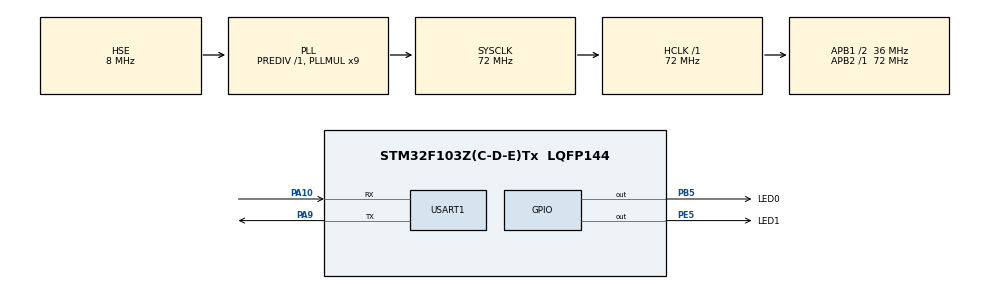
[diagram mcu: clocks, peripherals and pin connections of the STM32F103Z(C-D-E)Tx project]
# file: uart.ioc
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Mcu.Family=STM32F1
Mcu.Name=STM32F103Z(C-D-E)Tx
Mcu.Package=LQFP144
NVIC.PriorityGroup=NVIC_PRIORITYGROUP_4
NVIC.USART1_IRQn=true\:0\:0\:false\:false\:true\:true\:true\:true
OSC_IN.Mode=HSE-External-Oscillator
OSC_IN.Signal=RCC_OSC_IN
OSC_OUT.Mode=HSE-External-Oscillator
OSC_OUT.Signal=RCC_OSC_OUT
PA10.Mode=Asynchronous
PA10.Signal=USART1_RX
PA13.Mode=Serial_Wire
PA13.Signal=SYS_JTMS-SWDIO
PA14.Mode=Serial_Wire
PA14.Signal=SYS_JTCK-SWCLK
PA9.Mode=Asynchronous
PA9.Signal=USART1_TX
PB5.GPIO_Label=LED0
PB5.GPIO_PuPd=GPIO_PULLUP
PB5.GPIO_Speed=GPIO_SPEED_FREQ_HIGH
PB5.PinState=GPIO_PIN_SET
PB5.Signal=GPIO_Output
PE5.GPIO_Label=LED1
PE5.GPIO_PuPd=GPIO_PULLUP
PE5.GPIO_Speed=GPIO_SPEED_FREQ_HIGH
PE5.PinState=GPIO_PIN_SET
PE5.Signal=GPIO_Output
ProjectManager.HeapSize=0x200
ProjectManager.StackSize=0x400
ProjectManager.TargetToolchain=Makefile
RCC.AHBFreq_Value=72000000
RCC.APB1CLKDivider=RCC_HCLK_DIV2
RCC.APB1Freq_Value=36000000
RCC.APB1TimFreq_Value=72000000
RCC.APB2Freq_Value=72000000
RCC.APB2TimFreq_Value=72000000
RCC.HCLKFreq_Value=72000000
RCC.PLLMUL=RCC_PLL_MUL9
RCC.PLLSourceVirtual=RCC_PLLSOURCE_HSE
RCC.SYSCLKFreq_VALUE=72000000
RCC.SYSCLKSource=RCC_SYSCLKSOURCE_PLLCLK
RCC.USBFreq_Value=72000000
USART1.VirtualMode=VM_ASYNC
board=custom

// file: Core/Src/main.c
/* USER CODE BEGIN Header */
/**
  ******************************************************************************
  * @file           : main.c
  * @brief          : Main program body
  ******************************************************************************
  * @attention
  *
  * Copyright (c) 2025 STMicroelectronics.
  * All rights reserved.
  *
  * This software is licensed under terms that can be found in the LICENSE file
  * in the root directory of this software component.
  * If no LICENSE file comes with this software, it is provided AS-IS.
  *
  ******************************************************************************
  */
/* USER CODE END Header */
#include "main.h"
#include "usart.h"
#include "gpio.h"

/* USER CODE BEGIN Includes */
#define RXBUFFER_SIZE 256
char RxBuffer[RXBUFFER_SIZE];
uint8_t aRxBuffer;

uint8_t msg_blink_on[]  = "Blink Mode ON\r\n";
uint8_t msg_led_on[]    = "LED ON\r\n";
uint8_t msg_led_off[]   = "LED OFF\r\n";

uint8_t Uart1_Rx_Cnt = 0;
uint8_t blink_mode = 0;

volatile uint8_t led1_on_flag = 0; // LED1开关标志
/* USER CODE END Includes */

void SystemClock_Config(void);

int main(void)
{
  /* USER CODE BEGIN 1 */
  uint8_t led1_on_time = 0;
  /* USER CODE END 1 */

  /* MCU Configuration--------------------------------------------------------*/

  /* Reset of all peripherals, Initializes the Flash interface and the Systick. */
  HAL_Init();

  /* Configure the system clock */
  SystemClock_Config();

  /* Initialize all configured peripherals */
  MX_GPIO_Init();
  MX_USART1_UART_Init();
  /* USER CODE BEGIN 2 */
  HAL_UART_Receive_IT(&huart1, (uint8_t *)&aRxBuffer, 1);
  /* USER CODE END 2 */

  /* Infinite loop */
  /* USER CODE BEGIN WHILE */
  while (1)
  {
    if (blink_mode)
    {
      HAL_GPIO_TogglePin(LED0_GPIO_Port, LED0_Pin);
      HAL_Delay(500);
    }
    else
    {
      HAL_Delay(100); // 避免CPU空转
    }
    if(led1_on_flag)
    {
      led1_on_time = HAL_GetTick();
      led1_on_flag = 0;
    }
    if(HAL_GetTick() - led1_on_time >= 50)
    {
      HAL_GPIO_WritePin(LED1_GPIO_Port, LED1_Pin, GPIO_PIN_SET); // 熄灭LED1
    }
    /* USER CODE END WHILE */

  }
}

void SystemClock_Config(void)
{
  RCC_OscInitTypeDef RCC_OscInitStruct = {0};
  RCC_ClkInitTypeDef RCC_ClkInitStruct = {0};

  /** Initializes the RCC Oscillators according to the specified parameters
  * in the RCC_OscInitTypeDef structure.
  */
  RCC_OscInitStruct.OscillatorType = RCC_OSCILLATORTYPE_HSE;
  RCC_OscInitStruct.HSEState = RCC_HSE_ON;
  RCC_OscInitStruct.HSEPredivValue = RCC_HSE_PREDIV_DIV1;
  RCC_OscInitStruct.HSIState = RCC_HSI_ON;
  RCC_OscInitStruct.PLL.PLLState = RCC_PLL_ON;
  RCC_OscInitStruct.PLL.PLLSource = RCC_PLLSOURCE_HSE;
  RCC_OscInitStruct.PLL.PLLMUL = RCC_PLL_MUL9;
  if (HAL_RCC_OscConfig(&RCC_OscInitStruct) != HAL_OK)
  {
    Error_Handler();
  }

  /** Initializes the CPU, AHB and APB buses clocks
  */
  RCC_ClkInitStruct.ClockType = RCC_CLOCKTYPE_HCLK|RCC_CLOCKTYPE_SYSCLK
                              |RCC_CLOCKTYPE_PCLK1|RCC_CLOCKTYPE_PCLK2;
  RCC_ClkInitStruct.SYSCLKSource = RCC_SYSCLKSOURCE_PLLCLK;
  RCC_ClkInitStruct.AHBCLKDivider = RCC_SYSCLK_DIV1;
  RCC_ClkInitStruct.APB1CLKDivider = RCC_HCLK_DIV2;
  RCC_ClkInitStruct.APB2CLKDivider = RCC_HCLK_DIV1;

  if (HAL_RCC_ClockConfig(&RCC_ClkInitStruct, FLASH_LATENCY_2) != HAL_OK)
  {
    Error_Handler();
  }
}

/* USER CODE BEGIN 4 */
void HAL_UART_RxCpltCallback(UART_HandleTypeDef *huart)
{
  if(huart->Instance == USART1)
  {
    switch(aRxBuffer)
    {
      case '2':
        blink_mode = 1;
        HAL_UART_Transmit_IT(&huart1, msg_blink_on, sizeof(msg_blink_on) - 1);
        break;

      case '1':
        blink_mode = 0;
        HAL_GPIO_WritePin(LED0_GPIO_Port, LED0_Pin, GPIO_PIN_RESET); // 点亮LED0
        HAL_UART_Transmit_IT(&huart1, msg_led_on, sizeof(msg_led_on) - 1);
        break;

      case '0':
        blink_mode = 0;
        HAL_GPIO_WritePin(LED0_GPIO_Port, LED0_Pin, GPIO_PIN_SET); // 熄灭LED0
        HAL_UART_Transmit_IT(&huart1, msg_led_off, sizeof(msg_led_off) - 1);
        break;
    }

    HAL_UART_Receive_IT(&huart1, (uint8_t *)&aRxBuffer, 1);
  }
}

void HAL_UART_TxCpltCallback(UART_HandleTypeDef *huart)
{
  if(huart->Instance == USART1)
  {
    HAL_GPIO_WritePin(LED1_GPIO_Port, LED1_Pin, GPIO_PIN_RESET);
    led1_on_flag = 1; // 设置LED1开关标志
  }
}
/* USER CODE END 4 */

void Error_Handler(void)
{
  __disable_irq();
  while (1)
  {
  }
}
